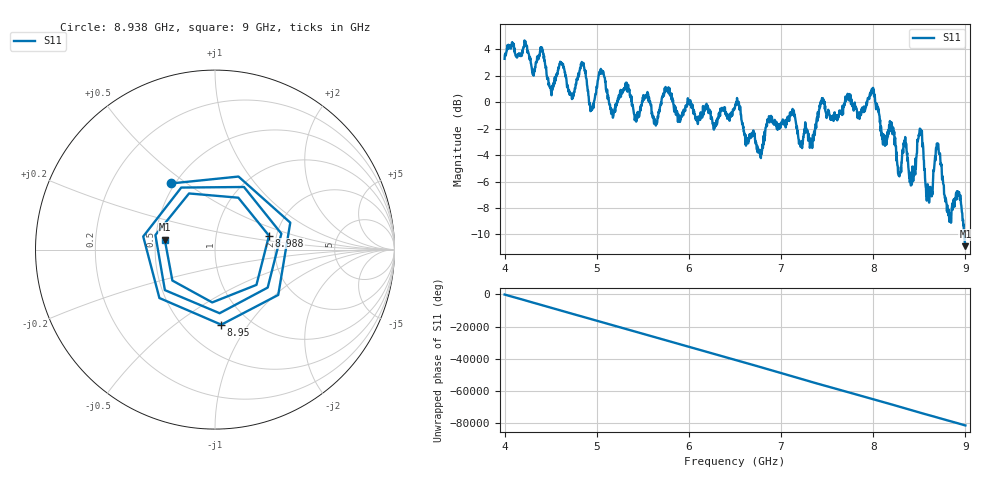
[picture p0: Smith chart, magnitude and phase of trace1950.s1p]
! Created with skrf 1.8.0 (http://scikit-rf.org).
# Hz S RI R 50.0
!freq ReS11 ImS11
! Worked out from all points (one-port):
!   1601 points, 4 GHz to 9 GHz, reference 50 ohm
!   lowest |S11| = -10.9 dB at 9 GHz (marker M1), VSWR 1.80, Z = 28 + j3.42 ohm
!   |S11| at or under -10 dB: 8.984478 GHz to end of sweep
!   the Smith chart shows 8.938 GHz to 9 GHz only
!   S11 on the Smith chart (normalised r, x): 8.938 GHz: 0.48, +0.44; 8.95 GHz: 0.74, -0.76; 8.988 GHz: 1.83, +0.31; 9 GHz: 0.56, +0.07
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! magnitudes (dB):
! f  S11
! 4 GHz  3.3
! 4.503 GHz  0.9
! 4.625 GHz  2.8
! 4.731 GHz  0.2
! 4.853 GHz  2.8
! 4.941 GHz  -0.6
! 5.047 GHz  2.1
! 5.162 GHz  -0.5
! 5.25 GHz  0.5
! 5.875 GHz  -1.1
! 6.5 GHz  -0.4
! 6.769 GHz  -3.8
! 7.125 GHz  -0.5
! 7.325 GHz  -2.9
! 7.441 GHz  -0.1
! 7.75 GHz  0.1
! 7.991 GHz  1.0
! 8.281 GHz  -5.4
! 8.375 GHz  -4.2
! 8.431 GHz  -5.5
! 8.506 GHz  -2.0
! 8.594 GHz  -6.8
! 8.703 GHz  -3.1
! 8.822 GHz  -8.5
! 8.938 GHz  -7.1
! 8.95 GHz  -7.5
! 8.988 GHz  -10.2
! 9 GHz  -10.9
